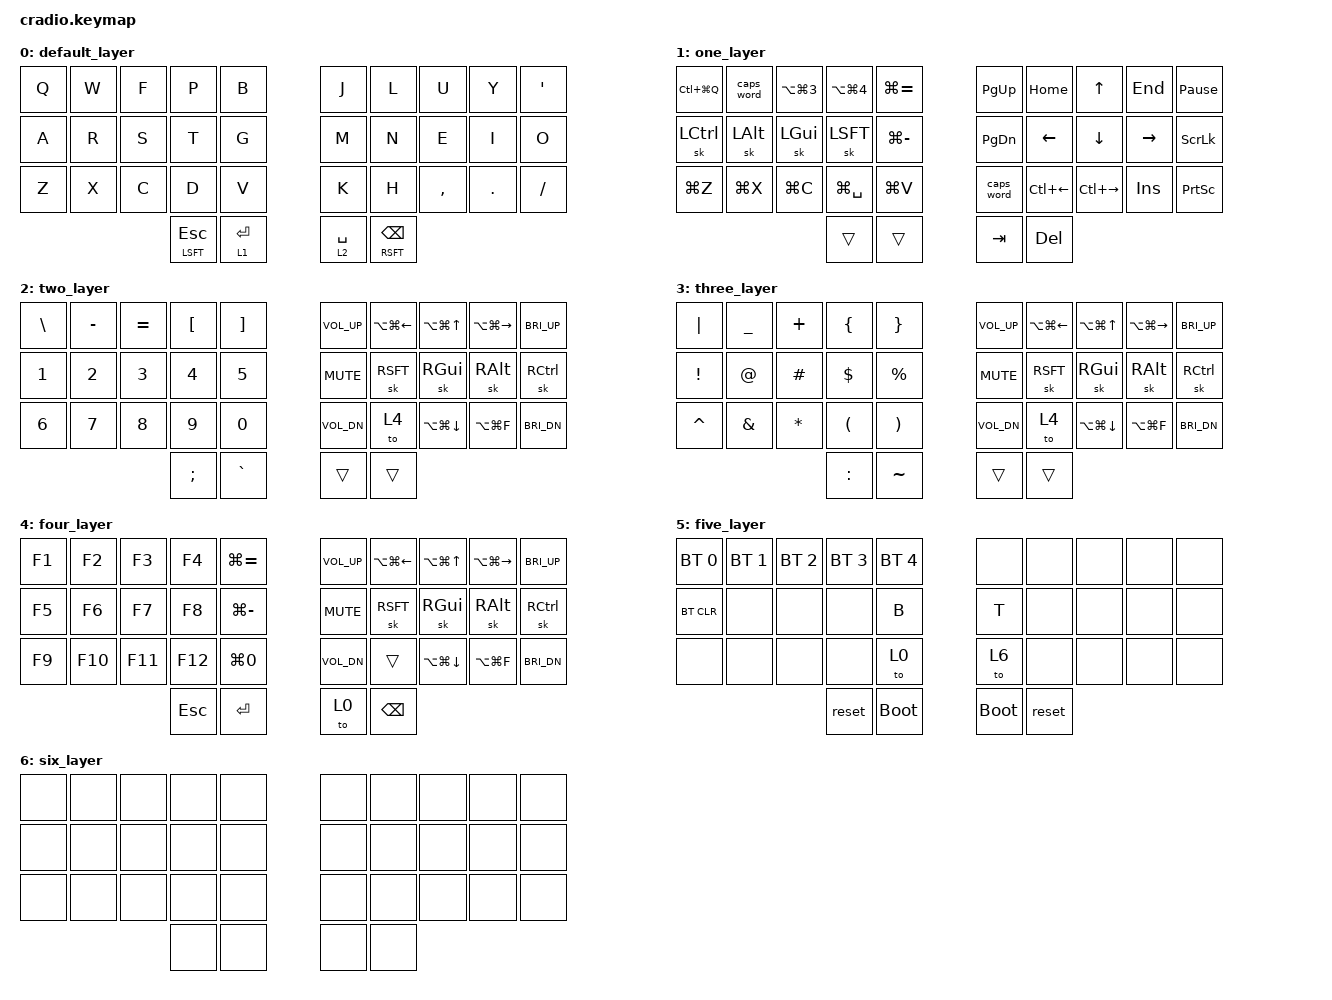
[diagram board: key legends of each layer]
/*
 * Copyright (c) 2020 The ZMK Contributors
 *
 * SPDX-License-Identifier: MIT
 */

#include <behaviors.dtsi>
#include <dt-bindings/zmk/keys.h>
#include <dt-bindings/zmk/bt.h>


&mt {
    flavor = "tap-preferred";
    tapping-term-ms = <200>;
    quick-tap-ms = <0>;
};

&lt {
    flavor = "tap-preferred";
    tapping-term-ms = <250>;
    quick-tap-ms = <0>;
};

&caps_word {    
    continue-list = <BACKSPACE UNDERSCORE MINUS N1 N2 N3 N4 N5 N6 N7 N8 N9 N0>;
};

&sk {    
    release-after-ms = <2200>;
};

/ { 

        combos {
            compatible = "zmk,combos";

            combo_symb {
               timeout-ms = <50>;
               key-positions = <15 16>;
               bindings = <&mo 3>;
            };

            combo_default {
               timeout-ms = <50>;
               key-positions = <14 15>;
               bindings = <&to 0>;
            };

            combo_bluetooth {
               timeout-ms = <50>;
               key-positions = <24 25>;
               bindings = <&to 5>;
            };

            combo_blank {
               timeout-ms = <50>;
               key-positions = <4 5>;
               bindings = <&to 6>;
            };

        };

        keymap {
                compatible = "zmk,keymap";
                
            default_layer {
                bindings = <
                &kp Q &kp W &kp F &kp P &kp B    &kp J &kp L &kp U    &kp Y   &kp QUOT
                &kp A &kp R &kp S &kp T &kp G    &kp M &kp N &kp E    &kp I   &kp O
                &kp Z &kp X &kp C &kp D &kp V    &kp K &kp H &kp CMMA &kp DOT &kp FSLH
                &mt LSFT ESC &lt 1 RET           &lt 2 SPC &mt RSFT BSPC 
                >;
            };

            one_layer {
                bindings = <
                &kp LC(LG(Q)) &caps_word &kp LA(LG(3)) &kp LA(LG(4)) &kp LG(EQUAL)  &kp PG_UP  &kp HOME     &kp UP        &kp END   &kp PAUSE_BREAK  
                &sk LCTL      &sk LALT   &sk LGUI      &sk LSFT      &kp LG(MINUS)  &kp PG_DN  &kp LEFT     &kp DOWN      &kp RIGHT &kp SLCK  
                &kp LG(Z)     &kp LG(X)  &kp LG(C)     &kp LG(SPC)   &kp LG(V)      &caps_word &kp LC(LEFT) &kp LC(RIGHT) &kp INS   &kp PSCRN 
                &trans &trans                                                       &kp TAB    &kp DEL                                       
                >;
            };

            two_layer {
                bindings = <
                &kp BSLH  &kp MINUS &kp EQUAL &kp LBKT  &kp RBKT   &kp C_VOL_UP  &kp LA(LG(LEFT)) &kp LA(LG(UP))   &kp LA(LG(RIGHT)) &kp C_BRI_UP
                &kp NUM_1 &kp NUM_2 &kp NUM_3 &kp NUM_4 &kp NUM_5  &kp K_MUTE    &sk RSFT         &sk RGUI         &sk RALT          &sk RCTL
                &kp NUM_6 &kp NUM_7 &kp NUM_8 &kp NUM_9 &kp NUM_0  &kp C_VOL_DN  &to 4            &kp LA(LG(DOWN)) &kp LA(LG(F))     &kp C_BRI_DN
                &kp SEMI  &kp GRAVE                                &trans        &trans 
                >;
            };    

            three_layer {
                bindings = <
                &kp PIPE  &kp UNDER &kp PLUS &kp LBRC &kp RBRC   &kp C_VOL_UP  &kp LA(LG(LEFT)) &kp LA(LG(UP))   &kp LA(LG(RIGHT)) &kp C_BRI_UP
                &kp EXCL  &kp AT    &kp HASH &kp DLLR &kp PRCNT  &kp K_MUTE    &sk RSFT         &sk RGUI         &sk RALT          &sk RCTL
                &kp CARET &kp AMPS  &kp STAR &kp LPAR &kp RPAR   &kp C_VOL_DN  &to 4            &kp LA(LG(DOWN)) &kp LA(LG(F))     &kp C_BRI_DN
                &kp COLON &kp TILDE                              &trans        &trans 
                >;
            };    
        
            four_layer {
                bindings = <
                &kp F1 &kp F2  &kp F3  &kp F4  &kp LG(EQUAL)  &kp C_VOL_UP  &kp LA(LG(LEFT)) &kp LA(LG(UP))   &kp LA(LG(RIGHT)) &kp C_BRI_UP
                &kp F5 &kp F6  &kp F7  &kp F8  &kp LG(MINUS)  &kp K_MUTE    &sk RSFT         &sk RGUI         &sk RALT          &sk RCTL
                &kp F9 &kp F10 &kp F11 &kp F12 &kp LG(0)      &kp C_VOL_DN  &trans           &kp LA(LG(DOWN)) &kp LA(LG(F))     &kp C_BRI_DN
                &kp ESC &kp RET                               &to 0 &kp BSPC 
                >;
            };

            five_layer {
                bindings = <
                &bt BT_SEL 0  &bt BT_SEL 1 &bt BT_SEL 2 &bt BT_SEL 3 &bt BT_SEL 4  &none &none &none &none &none
                &bt BT_CLR    &none        &none        &none        &kp B         &kp T &none &none &none &none
                &none         &none        &none        &none        &to 0         &to 6 &none &none &none &none 
                &reset &bootloader                                                 &bootloader &reset
                >;
            };    

            six_layer {
                bindings = <
                &none &none &none &none &none    &none &none &none &none &none
                &none &none &none &none &none    &none &none &none &none &none
                &none &none &none &none &none    &none &none &none &none &none 
                &none &none                      &none &none
                >;
            };    
        };
};
